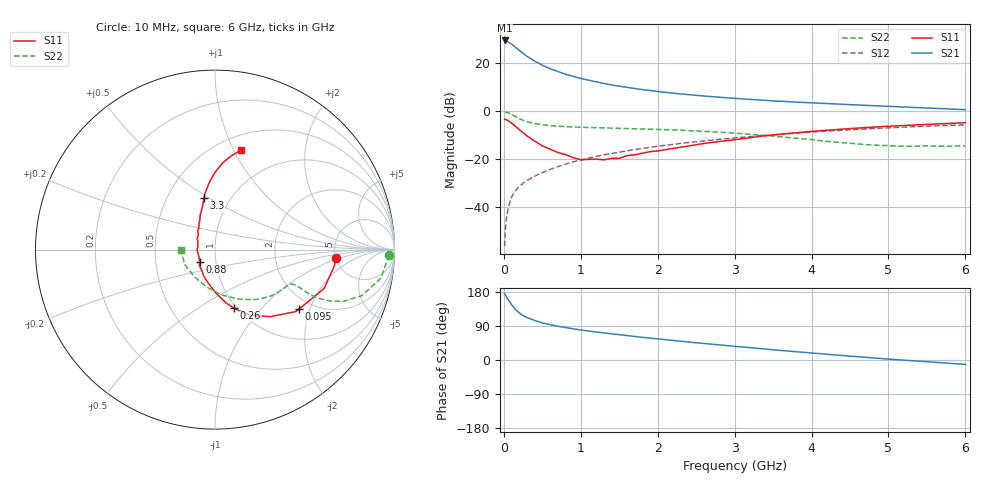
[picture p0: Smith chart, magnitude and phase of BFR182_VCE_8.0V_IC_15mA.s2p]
! Infineon Technologies  Discrete & RF Semiconductors
! BFR182
! VCE =  8.0 V,  IC =  15 mA
! Common Emitter S-Parameters:  Nov 2015
# GHz  S  MA  R  50
!  f  S11  S21  S12  S22
! GHz  MAG  ANG  MAG  ANG  MAG  ANG  MAG  ANG
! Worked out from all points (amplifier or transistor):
!   210 points, 10 MHz to 6 GHz, reference 50 ohm
!   highest |S21| = 29.6 dB at 10 MHz (marker M1)
!   |S21| within 3 dB of that: start of sweep to 156.2 MHz
!   unconditionally stable (mu >= 1): 726.2 MHz to 2.712 GHz
!   at 185 MHz: K = 0.59, MSG = 28.9 dB, |S12| = -32.0 dB
!   at 1.52 GHz: K = 1.04, MAG = 12.4 dB, |S12| = -17.0 dB
!   at 6 GHz: K = 0.90, MSG = 3.2 dB, |S12| = -5.7 dB
!   S11 on the Smith chart (normalised r, x): 10 MHz: 4.98, -0.83; 95 MHz: 1.70, -1.68; 260 MHz: 0.97, -0.72; 880 MHz: 0.83, -0.12; 3.3 GHz: 0.76, +0.47; 6 GHz: 0.65, +1.07
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0.01  0.6734 -3.9  30.2 175.3  0.0015 86.9  0.9712 -1.8
0.02  0.6718 -7.7  29.45 171.6  0.0035 88.2  0.9584 -4.1
0.05  0.6455 -19.6  28.55 161.3  0.0083 80.0  0.9376 -9.8
0.095  0.573 -35.4  25.73 147.5  0.0151 74.9  0.865 -16.6
0.1  0.568 -37.4  25.52 145.8  0.0159 74.6  0.8577 -17.4
0.15  0.4848 -50.4  21.78 133.2  0.0217 70.6  0.7712 -22.0
0.2  0.4148 -61.8  18.77 124.2  0.0265 70.0  0.7005 -24.1
0.24  0.3647 -68.7  16.67 118.6  0.0301 68.8  0.6558 -24.9
0.26  0.343 -72.0  15.75 116.1  0.0319 68.7  0.6367 -25.1
0.3  0.3045 -78.1  14.08 111.9  0.0355 69.6  0.6049 -25.3
0.4  0.2375 -89.9  11.18 104.3  0.0435 70.0  0.5532 -24.9
0.5  0.1882 -102.2  9.143 97.8  0.0521 70.8  0.5191 -24.2
0.7  0.1371 -122.7  6.755 89.1  0.0691 71.2  0.4847 -23.9
0.88  0.1102 -141.5  5.457 82.8  0.0851 70.7  0.4694 -24.2
1.02  0.0969 -160.2  4.763 78.7  0.0973 70.4  0.4604 -24.9
1.4  0.1032 160.1  3.539 69.1  0.1305 68.7  0.4435 -28.4
2.02  0.149 127.7  2.56 55.3  0.1864 63.7  0.4165 -36.3
3.1  0.2663 104.6  1.81 34.4  0.2849 53.2  0.3381 -55.5
3.3  0.2923 102.1  1.724 30.8  0.3029 51.0  0.3192 -60.1
4.1  0.3886 93.6  1.469 16.8  0.3745 42.1  0.2442 -85.4
5.1  0.4936 83.9  1.25 1.1  0.4574 30.1  0.1867 -132.1
6  0.5747 75.2  1.075 -11.7  0.5172 18.2  0.1896 -179.4
